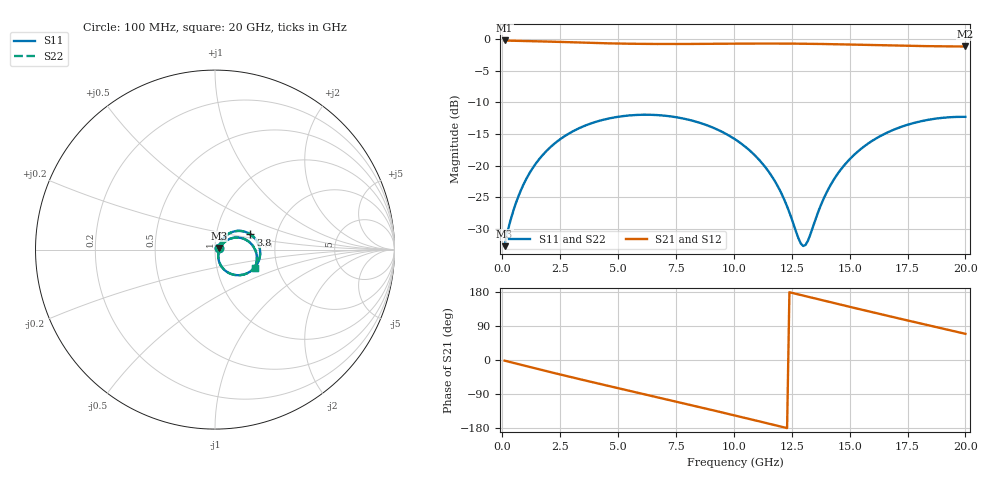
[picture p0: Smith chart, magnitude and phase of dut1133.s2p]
! Touchstone file exported from HFSS 2026.1.0
!  File:  C:/ffzhzh/LocalFiles/Ansys_Project_Files/temp_train_TSV_RDL_1133_1783307924_39728.aedt
!  Generated:  11:30:08 AM Jul  6, 2026
!  Design:  TSV_RDL
!  Project:  temp_train_TSV_RDL_1133_1783307924_39728
! Variables:
!  h_bsmrdl = 4.6um
!  h_ox = 20um
!  h_rdl = 5um
!  h_sub = 60.21um
!  h_tmrdl = 5.83um
!  h_tsv = 60.21um
!  h_via = 3um
!  l_bsmrdl = 639.38um
!  l_sub = 5168.61um
!  l_tmrdl = 681.44um
!  m_sub = 200um
!  pitch = 29.89um
!  r_tsv = 3.15um
!  s_tmrdl = 10um
!  w_bsmrdl = 19.35um
!  w_sub = 500um
!  w_tmrdl = 22.22um
!  x_tsv_center1 = 692.55um
!  x_tsv_center2 = 1351.28um
!  x_tsv_center3 = 2054.94um
!  x_tsv_center4 = 2713.67um
!  x_tsv_center5 = 3417.33um
!  x_tsv_center6 = 4076.06um
# GHz S MA R 50.000000
! Terminal data exported
! Port[1] = TM_RDL1_1_T1
! Port[2] = TM_RDL5_1_T1
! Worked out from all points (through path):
!   200 points, 100 MHz to 20 GHz, reference 50 ohm
!   highest |S21| = -0.19 dB at 100 MHz (marker M1); lowest = -1.1 dB at 20 GHz (marker M2)
!   group delay of S21, straight-line fit = 40.3 ps
!   lowest |S11| = -32.7 dB at 100 MHz (marker M3), VSWR 1.05, Z = 52.2 + j0.923 ohm
!   |S11| at or under -10 dB: start of sweep to end of sweep
!   |S22| runs from -32.7 to -11.9 dB; largest |S21 - S12| = 1.7e-14
!   S11 on the Smith chart (normalised r, x): 100 MHz: 1.04, +0.02; 3.8 GHz: 1.46, +0.26; 20 GHz: 1.53, -0.33
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0.1  0.02306 22.6  0.9789 -1.7  0.9789 -1.7  0.02306 22.6
! Gamma 0 0 0 0
! Port Impedance 50 0 50 0
0.6  0.0513 50.6  0.9728 -9.4  0.9728 -9.4  0.0513 50.6
1.3  0.0949 52.4  0.9669 -20.2  0.9669 -20.2  0.0949 52.4
2.3  0.1519 42.4  0.9552 -35.2  0.9552 -35.2  0.1519 42.4
3.5  0.2047 27.2  0.94 -52.9  0.94 -52.9  0.2047 27.1
3.8  0.2149 23.2  0.9366 -57.2  0.9366 -57.2  0.2149 23.2
5.3  0.2477 3.5  0.9234 -78.6  0.9234 -78.6  0.2477 3.5
6.8  0.2506 -16.0  0.9179 -99.8  0.9179 -99.8  0.2506 -16.0
8.4  0.222 -36.6  0.9191 -122.6  0.9191 -122.6  0.222 -36.6
10.1  0.1595 -57.3  0.9236 -147.2  0.9236 -147.2  0.1595 -57.4
11  0.116 -66.7  0.9252 -160.5  0.9252 -160.5  0.116 -66.7
11.7  0.07921 -70.9  0.9254 -170.8  0.9254 -170.8  0.07921 -71.0
12.2  0.0527 -68.9  0.9247 -178.2  0.9247 -178.2  0.0527 -68.9
12.9  0.02407 -30.9  0.9226 171.4  0.9226 171.4  0.02407 -31.0
13.1  0.02364 -5.5  0.9218 168.4  0.9218 168.4  0.02363 -5.5
13.4  0.03214 22.3  0.9203 164.0  0.9203 164.0  0.03212 22.3
14  0.06104 37.7  0.9167 155.1  0.9167 155.1  0.06103 37.7
14.7  0.09728 36.5  0.9115 144.8  0.9115 144.8  0.09727 36.5
15.6  0.1408 28.5  0.9039 131.7  0.9039 131.7  0.1408 28.5
16.7  0.1854 16.1  0.8944 115.8  0.8944 115.8  0.1854 16.0
18.3  0.2289 -3.5  0.883 93.1  0.883 93.1  0.2289 -3.5
20  0.2434 -24.6  0.8769 69.1  0.8769 69.1  0.2433 -24.6
